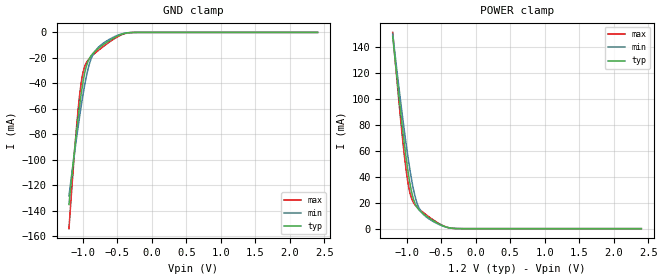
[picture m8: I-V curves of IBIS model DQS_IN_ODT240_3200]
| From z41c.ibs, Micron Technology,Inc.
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| MODEL DQS_IN_ODT240_3200 (Data Strobe Input with 240ohm ODT, 1600-3200Mbps)
[Model]   DQS_IN_ODT240_3200
Model_type   Input
Vinl = 905.000mV
Vinh = 1015.000mV
|   typ   min   max
|C_comp   0.678pF   0.628pF   0.730pF
C_comp_power_clamp   0.339pF   0.314pF   0.365pF
C_comp_gnd_clamp   0.339pF   0.314pF   0.365pF
| Note: C_comp changes when the ODT circuit is enabled.
|[Model Spec]
| Dynamic Overshoot Parameters from DDR4 Specification
|D_overshoot_ampl_h   0.40   NA   NA
|D_overshoot_ampl_l   0.40   NA   NA
|D_overshoot_area_h   0.0800n   NA   NA
|D_overshoot_area_l   0.0800n   NA   NA
[Voltage Range]   1.2000V   1.1400V   1.2600V
| Junction Temperature (Ambient temp is 35C typ, 95C min, 0C max)
[Temperature Range]   50.0   110.0   0.0
[Add Submodel]
| Submodel Name   Mode
240ohm_ODT_3200   Non-Driving
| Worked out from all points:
|   GND clamp passes 1 mA (typ) near -0.41 V on its own axis
|   POWER clamp passes 1 mA (typ) near -0.41 V on its own axis
[GND Clamp]
|   Voltage   I(typ)   I(min)   I(max)
-1.2V     -135.1mA   -128.5mA   -154.1mA
-1.134V   -99.81mA   -100.7mA   -104.3mA
-1.08V    -72.99mA   -79.12mA   -68.16mA
-1.044V   -56.83mA   -65.49mA   -48.57mA
-1.008V   -42.9mA    -52.76mA   -34.68mA
-957mV    -28.33mA   -37mA      -24.89mA
-891mV    -19.26mA   -22.51mA   -19.73mA
-837mV    -15.56mA   -15.96mA   -16.95mA
-741mV    -11.14mA   -10.11mA   -12.7mA
-474mV    -2.252mA   -1.84mA    -2.78mA
-306mV    -137.2uA   -127.6uA   -172.6uA
2.4V      0A         0A         0A
[POWER Clamp]
|   Voltage   I(typ)   I(min)   I(max)
-1.2V     148.2mA    149.9mA    151.2mA
-1.122V   108.2mA    114.2mA    104.8mA
-1.056V   76.46mA    85.57mA    68.64mA
-1.008V   55.59mA    66.14mA    46.17mA
-969mV    40.88mA    51.64mA    32.27mA
-915mV    25.67mA    34.42mA    21.73mA
-852mV    16.83mA    20.36mA    16.79mA
-798mV    13.27mA    13.99mA    14.19mA
-714mV    9.674mA    9.039mA    10.65mA
-471mV    2.089mA    1.966mA    2.293mA
-303mV    132.2uA    164.1uA    120.9uA
2.4V      0A         0A         0A
